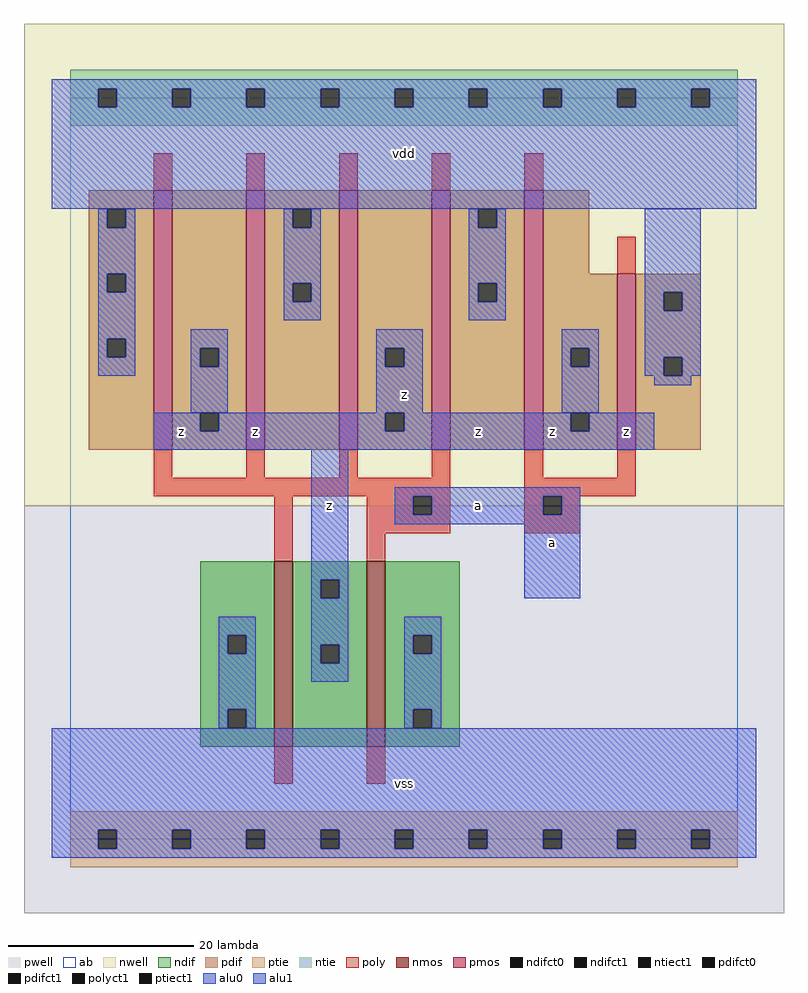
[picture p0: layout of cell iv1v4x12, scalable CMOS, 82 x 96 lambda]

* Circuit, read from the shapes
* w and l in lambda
.subckt iv1v4x12 a vdd vss z
M1 z a vss vss nfet w=20 l=2 m=2
M2 z a vdd vdd pfet w=28 l=2 m=5
M3 vdd a z vdd pfet w=19 l=2
.ends

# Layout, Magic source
magic
tech scmos
<< ab >>
rect 0 0 72 80
<< nwell >>
rect -5 36 77 88
<< pwell >>
rect -5 -8 77 36
<< poly >>
rect 9 70 11 74
rect 19 70 21 74
rect 29 70 31 74
rect 39 70 41 74
rect 49 70 51 74
rect 59 61 61 65
rect 9 39 11 42
rect 19 39 21 42
rect 29 39 31 42
rect 39 39 41 42
rect 9 37 41 39
rect 22 30 24 37
rect 32 35 37 37
rect 39 35 41 37
rect 32 33 41 35
rect 49 39 51 42
rect 59 39 61 42
rect 49 37 61 39
rect 49 35 51 37
rect 53 35 55 37
rect 49 33 55 35
rect 32 30 34 33
rect 22 6 24 10
rect 32 6 34 10
<< ndif >>
rect 14 22 22 30
rect 14 20 17 22
rect 19 20 22 22
rect 14 14 22 20
rect 14 12 17 14
rect 19 12 22 14
rect 14 10 22 12
rect 24 28 32 30
rect 24 26 27 28
rect 29 26 32 28
rect 24 21 32 26
rect 24 19 27 21
rect 29 19 32 21
rect 24 10 32 19
rect 34 22 42 30
rect 34 20 37 22
rect 39 20 42 22
rect 34 14 42 20
rect 34 12 37 14
rect 39 12 42 14
rect 34 10 42 12
<< pdif >>
rect 2 68 9 70
rect 2 66 4 68
rect 6 66 9 68
rect 2 61 9 66
rect 2 59 4 61
rect 6 59 9 61
rect 2 54 9 59
rect 2 52 4 54
rect 6 52 9 54
rect 2 42 9 52
rect 11 53 19 70
rect 11 51 14 53
rect 16 51 19 53
rect 11 46 19 51
rect 11 44 14 46
rect 16 44 19 46
rect 11 42 19 44
rect 21 68 29 70
rect 21 66 24 68
rect 26 66 29 68
rect 21 60 29 66
rect 21 58 24 60
rect 26 58 29 60
rect 21 42 29 58
rect 31 53 39 70
rect 31 51 34 53
rect 36 51 39 53
rect 31 46 39 51
rect 31 44 34 46
rect 36 44 39 46
rect 31 42 39 44
rect 41 68 49 70
rect 41 66 44 68
rect 46 66 49 68
rect 41 60 49 66
rect 41 58 44 60
rect 46 58 49 60
rect 41 42 49 58
rect 51 61 56 70
rect 51 53 59 61
rect 51 51 54 53
rect 56 51 59 53
rect 51 46 59 51
rect 51 44 54 46
rect 56 44 59 46
rect 51 42 59 44
rect 61 59 68 61
rect 61 57 64 59
rect 66 57 68 59
rect 61 52 68 57
rect 61 50 64 52
rect 66 50 68 52
rect 61 42 68 50
<< alu1 >>
rect -2 81 74 82
rect -2 79 3 81
rect 5 79 11 81
rect 13 79 19 81
rect 21 79 27 81
rect 29 79 35 81
rect 37 79 43 81
rect 45 79 51 81
rect 53 79 59 81
rect 61 79 67 81
rect 69 79 74 81
rect -2 68 74 79
rect 33 53 38 55
rect 33 51 34 53
rect 36 51 38 53
rect 33 46 38 51
rect 9 44 14 46
rect 16 44 34 46
rect 36 44 54 46
rect 56 44 63 46
rect 9 42 63 44
rect 26 28 30 42
rect 35 37 55 38
rect 35 35 37 37
rect 39 35 51 37
rect 53 35 55 37
rect 35 34 55 35
rect 26 26 27 28
rect 29 26 30 28
rect 49 26 55 34
rect 26 21 30 26
rect 26 19 27 21
rect 29 19 30 21
rect 26 17 30 19
rect -2 1 74 12
rect -2 -1 3 1
rect 5 -1 11 1
rect 13 -1 19 1
rect 21 -1 27 1
rect 29 -1 35 1
rect 37 -1 43 1
rect 45 -1 51 1
rect 53 -1 59 1
rect 61 -1 67 1
rect 69 -1 74 1
rect -2 -2 74 -1
<< ptie >>
rect 0 1 72 3
rect 0 -1 3 1
rect 5 -1 11 1
rect 13 -1 19 1
rect 21 -1 27 1
rect 29 -1 35 1
rect 37 -1 43 1
rect 45 -1 51 1
rect 53 -1 59 1
rect 61 -1 67 1
rect 69 -1 72 1
rect 0 -3 72 -1
<< ntie >>
rect 0 81 72 83
rect 0 79 3 81
rect 5 79 11 81
rect 13 79 19 81
rect 21 79 27 81
rect 29 79 35 81
rect 37 79 43 81
rect 45 79 51 81
rect 53 79 59 81
rect 61 79 67 81
rect 69 79 72 81
rect 0 77 72 79
<< nmos >>
rect 22 10 24 30
rect 32 10 34 30
<< pmos >>
rect 9 42 11 70
rect 19 42 21 70
rect 29 42 31 70
rect 39 42 41 70
rect 49 42 51 70
rect 59 42 61 61
<< polyct1 >>
rect 37 35 39 37
rect 51 35 53 37
<< ndifct0 >>
rect 17 20 19 22
rect 17 12 19 14
rect 37 20 39 22
rect 37 12 39 14
<< ndifct1 >>
rect 27 26 29 28
rect 27 19 29 21
<< ntiect1 >>
rect 3 79 5 81
rect 11 79 13 81
rect 19 79 21 81
rect 27 79 29 81
rect 35 79 37 81
rect 43 79 45 81
rect 51 79 53 81
rect 59 79 61 81
rect 67 79 69 81
<< ptiect1 >>
rect 3 -1 5 1
rect 11 -1 13 1
rect 19 -1 21 1
rect 27 -1 29 1
rect 35 -1 37 1
rect 43 -1 45 1
rect 51 -1 53 1
rect 59 -1 61 1
rect 67 -1 69 1
<< pdifct0 >>
rect 4 66 6 68
rect 4 59 6 61
rect 4 52 6 54
rect 14 51 16 53
rect 24 66 26 68
rect 24 58 26 60
rect 44 66 46 68
rect 44 58 46 60
rect 54 51 56 53
rect 64 57 66 59
rect 64 50 66 52
<< pdifct1 >>
rect 14 44 16 46
rect 34 51 36 53
rect 34 44 36 46
rect 54 44 56 46
<< alu0 >>
rect 3 66 4 68
rect 6 66 7 68
rect 3 61 7 66
rect 3 59 4 61
rect 6 59 7 61
rect 3 54 7 59
rect 23 66 24 68
rect 26 66 27 68
rect 23 60 27 66
rect 23 58 24 60
rect 26 58 27 60
rect 23 56 27 58
rect 43 66 44 68
rect 46 66 47 68
rect 43 60 47 66
rect 43 58 44 60
rect 46 58 47 60
rect 43 56 47 58
rect 62 59 68 68
rect 62 57 64 59
rect 66 57 68 59
rect 3 52 4 54
rect 6 52 7 54
rect 3 50 7 52
rect 13 53 17 55
rect 13 51 14 53
rect 16 51 17 53
rect 13 46 17 51
rect 53 53 57 55
rect 53 51 54 53
rect 56 51 57 53
rect 53 46 57 51
rect 62 52 68 57
rect 62 50 64 52
rect 66 50 68 52
rect 63 49 67 50
rect 16 22 20 24
rect 16 20 17 22
rect 19 20 20 22
rect 16 14 20 20
rect 36 22 40 24
rect 36 20 37 22
rect 39 20 40 22
rect 16 12 17 14
rect 19 12 20 14
rect 36 14 40 20
rect 36 12 37 14
rect 39 12 40 14
<< labels >>
rlabel alu1 12 44 12 44 6 z
rlabel alu1 28 36 28 36 6 z
rlabel alu1 20 44 20 44 6 z
rlabel alu1 36 6 36 6 6 vss
rlabel alu1 44 36 44 36 6 a
rlabel alu1 52 32 52 32 6 a
rlabel alu1 44 44 44 44 6 z
rlabel alu1 52 44 52 44 6 z
rlabel alu1 36 48 36 48 6 z
rlabel alu1 36 74 36 74 6 vdd
rlabel alu1 60 44 60 44 6 z
<< end >>
